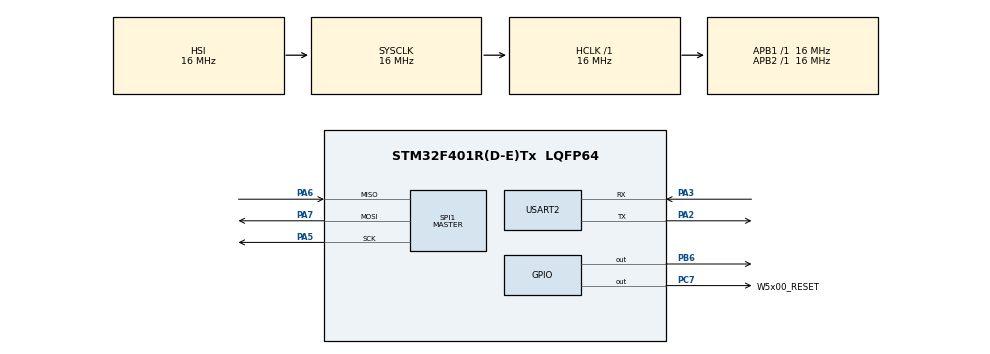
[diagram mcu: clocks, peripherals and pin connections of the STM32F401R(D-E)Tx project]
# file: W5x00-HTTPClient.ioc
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Mcu.Family=STM32F4
Mcu.Name=STM32F401R(D-E)Tx
Mcu.Package=LQFP64
NVIC.PriorityGroup=NVIC_PRIORITYGROUP_4
PA2.Mode=Asynchronous
PA2.Signal=USART2_TX
PA3.Mode=Asynchronous
PA3.Signal=USART2_RX
PA5.Mode=Full_Duplex_Master
PA5.Signal=SPI1_SCK
PA6.Mode=Full_Duplex_Master
PA6.Signal=SPI1_MISO
PA7.Mode=Full_Duplex_Master
PA7.Signal=SPI1_MOSI
PB6.Signal=GPIO_Output
PC7.GPIO_Label=W5x00_RESET
PC7.Signal=GPIO_Output
ProjectManager.HeapSize=0x200
ProjectManager.StackSize=0x400
ProjectManager.TargetToolchain=TrueSTUDIO
RCC.AHBFreq_Value=16000000
RCC.APB1Freq_Value=16000000
RCC.APB2Freq_Value=16000000
RCC.CortexFreq_Value=16000000
RCC.HSE_VALUE=25000000
RCC.HSI_VALUE=16000000
RCC.LSE_VALUE=32768
RCC.SYSCLKFreq_VALUE=16000000
RCC.VCOOutputFreq_Value=192000000
SPI1.BaudRatePrescaler=SPI_BAUDRATEPRESCALER_16
SPI1.Direction=SPI_DIRECTION_2LINES
SPI1.Mode=SPI_MODE_MASTER
SPI1.VirtualType=VM_MASTER
USART2.VirtualMode=VM_ASYNC
board=custom

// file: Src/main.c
/* USER CODE BEGIN Header */
/**
  ******************************************************************************
  * @file           : main.c
  * @brief          : Main program body
  ******************************************************************************
  * @attention
  *
  * <h2><center>&copy; Copyright (c) 2019 STMicroelectronics.
  * All rights reserved.</center></h2>
  *
  * This software component is licensed by ST under BSD 3-Clause license,
  * the "License"; You may not use this file except in compliance with the
  * License. You may obtain a copy of the License at:
  *                        opensource.org/licenses/BSD-3-Clause
  *
  ******************************************************************************
  */
/* USER CODE END Header */

#include "main.h"

/* USER CODE BEGIN Includes */
#include "stdio.h"
#include "wizchip_conf.h"
#include "webpage.h"
#include "httpClient.h"
#include "Internet/dns/dns.h"
#include "Internet/dhcp/dhcp.h"

/* USER CODE END Includes */

/* USER CODE BEGIN PD */
#define DATA_BUF_SIZE	2048
/* USER CODE END PD */

SPI_HandleTypeDef hspi1;

UART_HandleTypeDef huart2;

/* USER CODE BEGIN PV */
wiz_NetInfo defaultNetInfo = { .mac = {0x00,0x08,0xdc,0xff,0xee,0xdd},
							.ip = {192,168,0,130},
							.sn = {255,255,255,0},
							.gw = {192,168,0,254},
							//.dns = {168, 126, 63, 1},
							.dns = {8, 8, 8, 8},
							.dhcp = NETINFO_STATIC};

//for DHCP, DNS
#define __USE_DHCP__
#define __USE_DNS__
#define _MAIN_DEBUG_
#define SOCK_DHCP               3
#define SOCK_DNS                4
typedef enum
{
  OFF = 0,
  ON  = 1
} OnOff_State_Type;
uint8_t flag_process_dhcp_success = OFF;
uint8_t flag_process_dns_success = OFF;
//uint8_t dns_server[4] = {8, 8, 8, 8};           // Secondary DNS server IP
uint8_t dns_server[4] = {168, 126, 63, 1};           // Secondary DNS server IP

//for http client
// Example domain name
uint8_t Domain_IP[4]  = {0,};                  // Translated IP address by DNS Server
//uint8_t Domain_name[] = "www.kma.go.kr";
//uint8_t URI[] = "/wid/queryDFSRSS.jsp?zone=4113552000";
uint8_t Domain_name[] = "www.google.com";
uint8_t URI[] = "/search?ei=BkGsXL63AZiB-QaJ8KqoAQ&q=W6100&oq=W6100&gs_l=psy-ab.3...0.0..6208...0.0..0.0.0.......0......gws-wiz.eWEWFN8TORw";

uint8_t flag_sent_http_request = DISABLE;

uint8_t g_send_buf[DATA_BUF_SIZE];
uint8_t g_recv_buf[DATA_BUF_SIZE];

uint8_t data_buf [DATA_BUF_SIZE]; // TX Buffer for applications

/* USER CODE END PV */

void SystemClock_Config(void);
static void MX_GPIO_Init(void);
static void MX_SPI1_Init(void);
static void MX_USART2_UART_Init(void);
/* USER CODE BEGIN PFP */
void print_network_information(void);
int8_t process_dhcp(void);
int8_t process_dns(void);
int _write(int fd, char *str, int len)
{
	for(int i=0; i<len; i++)
	{
		HAL_UART_Transmit(&huart2, (uint8_t *)&str[i], 1, 0xFFFF);
	}
	return len;
}

/* USER CODE END PFP */

int main(void)
{
  /* USER CODE BEGIN 1 */

  uint8_t i;
  uint16_t len = 0;
  /* USER CODE END 1 */

  /* MCU Configuration--------------------------------------------------------*/

  /* Reset of all peripherals, Initializes the Flash interface and the Systick. */
  HAL_Init();

  /* Configure the system clock */
  SystemClock_Config();

  /* Initialize all configured peripherals */
  MX_GPIO_Init();
  MX_SPI1_Init();
  MX_USART2_UART_Init();
  /* USER CODE BEGIN 2 */

  printf("\t - W5x00 Project - \r\n");
  resetAssert();
  HAL_Delay(300);
  resetDeassert();
  HAL_Delay(300);
  printf("\t - WizChip Init - \r\n");

  WIZCHIPInitialize();
#if _WIZCHIP_ == W5100
  HAL_Delay(3000);
#endif
#if _WIZCHIP_ == W5100S
  printf("version:%.2x\r\n", getVER());
  printf("TMSR:%.2x\r\n", getTMSR());
  //NETUNLOCK();
#endif

#if _WIZCHIP_ == W5200  ||  _WIZCHIP_ == W5500
  printf("version:%.2x\r\n", getVERSIONR());
#endif

  wizchip_setnetinfo(&defaultNetInfo);
  print_network_information();

  /* Network Configuration - DHCP client */
  // Initialize Network Information: DHCP or Static IP allocation
#ifdef __USE_DHCP__
  if(process_dhcp() == DHCP_IP_LEASED) // DHCP success
  {
    flag_process_dhcp_success = ON;
  }
  else // DHCP failed
  {
    ctlnetwork(CN_SET_NETINFO,&defaultNetInfo); // Set default static IP settings
  }
#else
  ctlnetwork(CN_SET_NETINFO,&defaultNetInfo); // Set default static IP settings
#endif
  printf("Register value after W5x00 initialize!\r\n");
  print_network_information();

  /* DNS client */
#ifdef __USE_DNS__
  if(process_dns()) // DNS success
  {
    flag_process_dns_success = ON;
  }
#endif
  // Debug UART: DNS results print out
#ifdef __USE_DHCP__
  if(flag_process_dhcp_success == ENABLE)
  {
    printf(" # DHCP IP Leased time : %u seconds\r\n", getDHCPLeasetime());
  }
  else
  {
    printf(" # DHCP Failed\r\n");
  }
#endif

#ifdef __USE_DNS__
  if(flag_process_dns_success == ENABLE)
  {
    printf(" # DNS: %s => %d.%d.%d.%d\r\n", Domain_name, Domain_IP[0], Domain_IP[1], Domain_IP[2], Domain_IP[3]);
  }
  else
  {
    printf(" # DNS Failed\r\n");
  }
#endif

  /* USER CODE END 2 */

  /* Infinite loop */
  /* USER CODE BEGIN WHILE */
	while (1)
  {
    httpc_init(0, Domain_IP, 80, g_send_buf, g_recv_buf);
	    while(1){
		  httpc_connection_handler();
		  if(httpc_isSockOpen)
			{
				httpc_connect();
			}
		  // HTTP client example
		if(httpc_isConnected)
		{
			if(!flag_sent_http_request)
			{
				// Send: HTTP request
				request.method = (uint8_t *)HTTP_GET;
				request.uri = (uint8_t *)URI;
				request.host = (uint8_t *)Domain_name;

				// HTTP client example #1: Function for send HTTP request (header and body fields are integrated)
				{
					httpc_send(&request, g_recv_buf, g_send_buf, 0);
				}

				// HTTP client example #2: Separate functions for HTTP request - default header + body
				{
					//httpc_send_header(&request, g_recv_buf, NULL, len);
					//httpc_send_body(g_send_buf, len); // Send HTTP requset message body
				}

				// HTTP client example #3: Separate functions for HTTP request with custom header fields - default header + custom header + body
				{
					//httpc_add_customHeader_field(tmpbuf, "Custom-Auth", "auth_method_string"); // custom header field extended - example #1
					//httpc_add_customHeader_field(tmpbuf, "Key", "auth_key_string"); // custom header field extended - example #2
					//httpc_send_header(&request, g_recv_buf, tmpbuf, len);
					//httpc_send_body(g_send_buf, len);
				}

				flag_sent_http_request = ENABLE;
			}

			// Recv: HTTP response
			if(httpc_isReceived > 0)
			{
				len = httpc_recv(g_recv_buf, httpc_isReceived);

				printf(" >> HTTP Response - Received len: %d\r\n", len);
				printf("======================================================\r\n");
				for(i = 0; i < len; i++) printf("%c", g_recv_buf[i]);
				printf("\r\n");
				printf("======================================================\r\n");
			}

	  }
	    }

    /* USER CODE END WHILE */

  }
}

void SystemClock_Config(void)
{
  RCC_OscInitTypeDef RCC_OscInitStruct = {0};
  RCC_ClkInitTypeDef RCC_ClkInitStruct = {0};

  /** Configure the main internal regulator output voltage
  */
  __HAL_RCC_PWR_CLK_ENABLE();
  __HAL_PWR_VOLTAGESCALING_CONFIG(PWR_REGULATOR_VOLTAGE_SCALE2);
  /** Initializes the CPU, AHB and APB busses clocks
  */
  RCC_OscInitStruct.OscillatorType = RCC_OSCILLATORTYPE_HSI;
  RCC_OscInitStruct.HSIState = RCC_HSI_ON;
  RCC_OscInitStruct.HSICalibrationValue = RCC_HSICALIBRATION_DEFAULT;
  RCC_OscInitStruct.PLL.PLLState = RCC_PLL_NONE;
  if (HAL_RCC_OscConfig(&RCC_OscInitStruct) != HAL_OK)
  {
    Error_Handler();
  }
  /** Initializes the CPU, AHB and APB busses clocks
  */
  RCC_ClkInitStruct.ClockType = RCC_CLOCKTYPE_HCLK|RCC_CLOCKTYPE_SYSCLK
                              |RCC_CLOCKTYPE_PCLK1|RCC_CLOCKTYPE_PCLK2;
  RCC_ClkInitStruct.SYSCLKSource = RCC_SYSCLKSOURCE_HSI;
  RCC_ClkInitStruct.AHBCLKDivider = RCC_SYSCLK_DIV1;
  RCC_ClkInitStruct.APB1CLKDivider = RCC_HCLK_DIV1;
  RCC_ClkInitStruct.APB2CLKDivider = RCC_HCLK_DIV1;

  if (HAL_RCC_ClockConfig(&RCC_ClkInitStruct, FLASH_LATENCY_0) != HAL_OK)
  {
    Error_Handler();
  }
}

static void MX_SPI1_Init(void)
{

  /* SPI1 parameter configuration*/
  hspi1.Instance = SPI1;
  hspi1.Init.Mode = SPI_MODE_MASTER;
  hspi1.Init.Direction = SPI_DIRECTION_2LINES;
  hspi1.Init.DataSize = SPI_DATASIZE_8BIT;
  hspi1.Init.CLKPolarity = SPI_POLARITY_LOW;
  hspi1.Init.CLKPhase = SPI_PHASE_1EDGE;
  hspi1.Init.NSS = SPI_NSS_SOFT;
  hspi1.Init.BaudRatePrescaler = SPI_BAUDRATEPRESCALER_16;
  hspi1.Init.FirstBit = SPI_FIRSTBIT_MSB;
  hspi1.Init.TIMode = SPI_TIMODE_DISABLE;
  hspi1.Init.CRCCalculation = SPI_CRCCALCULATION_DISABLE;
  hspi1.Init.CRCPolynomial = 10;
  if (HAL_SPI_Init(&hspi1) != HAL_OK)
  {
    Error_Handler();
  }

}

static void MX_USART2_UART_Init(void)
{

  huart2.Instance = USART2;
  huart2.Init.BaudRate = 115200;
  huart2.Init.WordLength = UART_WORDLENGTH_8B;
  huart2.Init.StopBits = UART_STOPBITS_1;
  huart2.Init.Parity = UART_PARITY_NONE;
  huart2.Init.Mode = UART_MODE_TX_RX;
  huart2.Init.HwFlowCtl = UART_HWCONTROL_NONE;
  huart2.Init.OverSampling = UART_OVERSAMPLING_16;
  if (HAL_UART_Init(&huart2) != HAL_OK)
  {
    Error_Handler();
  }

}

static void MX_GPIO_Init(void)
{
  GPIO_InitTypeDef GPIO_InitStruct = {0};

  /* GPIO Ports Clock Enable */
  __HAL_RCC_GPIOA_CLK_ENABLE();
  __HAL_RCC_GPIOC_CLK_ENABLE();
  __HAL_RCC_GPIOB_CLK_ENABLE();

  /*Configure GPIO pin Output Level */
  HAL_GPIO_WritePin(W5x00_RESET_GPIO_Port, W5x00_RESET_Pin, GPIO_PIN_RESET);

  /*Configure GPIO pin Output Level */
  HAL_GPIO_WritePin(GPIOB, GPIO_PIN_6, GPIO_PIN_RESET);

  /*Configure GPIO pin : W5x00_RESET_Pin */
  GPIO_InitStruct.Pin = W5x00_RESET_Pin;
  GPIO_InitStruct.Mode = GPIO_MODE_OUTPUT_PP;
  GPIO_InitStruct.Pull = GPIO_NOPULL;
  GPIO_InitStruct.Speed = GPIO_SPEED_FREQ_LOW;
  HAL_GPIO_Init(W5x00_RESET_GPIO_Port, &GPIO_InitStruct);

  /*Configure GPIO pin : PB6 */
  GPIO_InitStruct.Pin = GPIO_PIN_6;
  GPIO_InitStruct.Mode = GPIO_MODE_OUTPUT_PP;
  GPIO_InitStruct.Pull = GPIO_NOPULL;
  GPIO_InitStruct.Speed = GPIO_SPEED_FREQ_LOW;
  HAL_GPIO_Init(GPIOB, &GPIO_InitStruct);

}

/* USER CODE BEGIN 4 */
void print_network_information(void)
{
	wizchip_getnetinfo(&defaultNetInfo);
	printf("Mac address: %02x:%02x:%02x:%02x:%02x:%02x\n\r",defaultNetInfo.mac[0],defaultNetInfo.mac[1],defaultNetInfo.mac[2],defaultNetInfo.mac[3],defaultNetInfo.mac[4],defaultNetInfo.mac[5]);
	printf("IP address : %d.%d.%d.%d\n\r",defaultNetInfo.ip[0],defaultNetInfo.ip[1],defaultNetInfo.ip[2],defaultNetInfo.ip[3]);
	printf("SM Mask	   : %d.%d.%d.%d\n\r",defaultNetInfo.sn[0],defaultNetInfo.sn[1],defaultNetInfo.sn[2],defaultNetInfo.sn[3]);
	printf("Gate way   : %d.%d.%d.%d\n\r",defaultNetInfo.gw[0],defaultNetInfo.gw[1],defaultNetInfo.gw[2],defaultNetInfo.gw[3]);
	printf("DNS Server : %d.%d.%d.%d\n\r",defaultNetInfo.dns[0],defaultNetInfo.dns[1],defaultNetInfo.dns[2],defaultNetInfo.dns[3]);
}

int8_t process_dhcp(void)
{
    uint8_t ret = 0;
    uint8_t dhcp_retry = 0;

#ifdef _MAIN_DEBUG_
    printf(" - DHCP Client running\r\n");
#endif
    DHCP_init(SOCK_DHCP, data_buf);
    //reg_dhcp_cbfunc(w6100_dhcp_assign, w6100_dhcp_assign, w6100_dhcp_conflict);

    //set_device_status(ST_UPGRADE);
    while(1)
    {
        ret = DHCP_run();

        if(ret == DHCP_IP_LEASED)
        {
#ifdef _MAIN_DEBUG_
            printf(" - DHCP Success\r\n");
#endif
            break;
        }
        else if(ret == DHCP_FAILED)
        {
            dhcp_retry++;
#ifdef _MAIN_DEBUG_
            if(dhcp_retry <= 3) printf(" - DHCP Timeout occurred and retry [%d]\r\n", dhcp_retry);
#endif
        }

        if(dhcp_retry > 3)
        {
#ifdef _MAIN_DEBUG_
            printf(" - DHCP Failed\r\n\r\n");
#endif
            DHCP_stop();
            break;
        }

//        do_segcp(); // Process the requests of configuration tool during the DHCP client run.
    }

//    set_device_status(ST_OPEN);

    return ret;
}

int8_t process_dns(void)
{
    int8_t ret = 0;
    uint8_t dns_retry = 0;

#ifdef _MAIN_DEBUG_
    printf(" - DNS Client running\r\n");
#endif
    DNS_init(SOCK_DNS, data_buf);
//    set_device_status(ST_UPGRADE);

    while(1)
    {

      if((ret = DNS_run(dns_server, (uint8_t *)Domain_name, Domain_IP)) == 1)
      {
#ifdef _MAIN_DEBUG_
        printf(" - DNS Success\r\n");
#endif
        break;
      }
      else
      {
        dns_retry++;
#ifdef _MAIN_DEBUG_
        if(dns_retry <= 2) printf(" - DNS Timeout occurred and retry [%d]\r\n", dns_retry);
#endif
      }

        if(dns_retry > 2) {
#ifdef _MAIN_DEBUG_
            printf(" - DNS Failed\r\n\r\n");
#endif
            break;
        }

        //do_segcp(); // Process the requests of configuration tool during the DNS client run.
#ifdef __USE_DHCP__
        DHCP_run();
#endif
    }
//    set_device_status(ST_OPEN);
    return ret;
}

/* USER CODE END 4 */

void Error_Handler(void)
{
}

/************************ (C) COPYRIGHT STMicroelectronics *****END OF FILE****/
